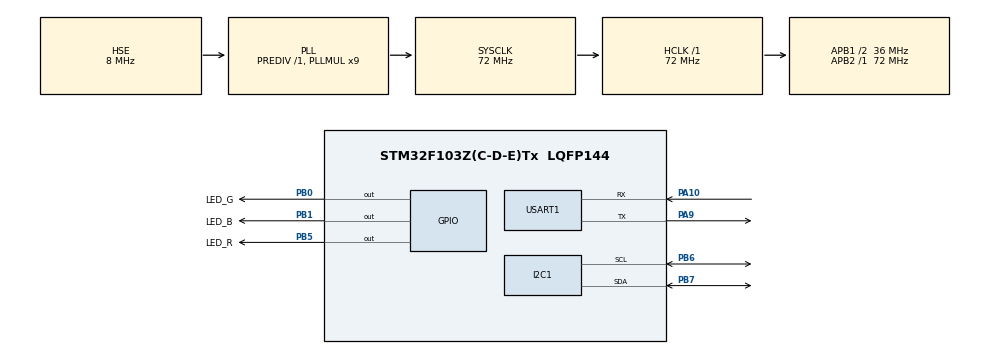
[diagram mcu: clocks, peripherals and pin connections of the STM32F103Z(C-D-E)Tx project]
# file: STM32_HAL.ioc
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I2C1.I2C_Mode=I2C_Fast
Mcu.Family=STM32F1
Mcu.Name=STM32F103Z(C-D-E)Tx
Mcu.Package=LQFP144
NVIC.PriorityGroup=NVIC_PRIORITYGROUP_4
NVIC.USART1_IRQn=true\:0\:0\:false\:false\:true\:true\:true\:true
OSC_IN.Mode=HSE-External-Oscillator
OSC_IN.Signal=RCC_OSC_IN
OSC_OUT.Mode=HSE-External-Oscillator
OSC_OUT.Signal=RCC_OSC_OUT
PA10.Mode=Asynchronous
PA10.Signal=USART1_RX
PA13.Mode=JTAG_5_pins
PA13.Signal=SYS_JTMS-SWDIO
PA14.Mode=JTAG_5_pins
PA14.Signal=SYS_JTCK-SWCLK
PA15.Mode=JTAG_5_pins
PA15.Signal=SYS_JTDI
PA9.Mode=Asynchronous
PA9.Signal=USART1_TX
PB0.GPIO_Label=LED_G
PB0.GPIO_Speed=GPIO_SPEED_FREQ_HIGH
PB0.PinState=GPIO_PIN_SET
PB0.Signal=GPIO_Output
PB1.GPIO_Label=LED_B
PB1.GPIO_Speed=GPIO_SPEED_FREQ_HIGH
PB1.PinState=GPIO_PIN_SET
PB1.Signal=GPIO_Output
PB3.Mode=JTAG_5_pins
PB3.Signal=SYS_JTDO-TRACESWO
PB4.Mode=JTAG_5_pins
PB4.Signal=SYS_NJTRST
PB5.GPIO_Label=LED_R
PB5.GPIO_Speed=GPIO_SPEED_FREQ_HIGH
PB5.PinState=GPIO_PIN_SET
PB5.Signal=GPIO_Output
PB6.Mode=I2C
PB6.Signal=I2C1_SCL
PB7.Mode=I2C
PB7.Signal=I2C1_SDA
PC14-OSC32_IN.Mode=LSE-External-Oscillator
PC14-OSC32_IN.Signal=RCC_OSC32_IN
PC15-OSC32_OUT.Mode=LSE-External-Oscillator
PC15-OSC32_OUT.Signal=RCC_OSC32_OUT
ProjectManager.HeapSize=0x200
ProjectManager.StackSize=0x400
ProjectManager.TargetToolchain=CMake
RCC.AHBFreq_Value=72000000
RCC.APB1CLKDivider=RCC_HCLK_DIV2
RCC.APB1Freq_Value=36000000
RCC.APB1TimFreq_Value=72000000
RCC.APB2Freq_Value=72000000
RCC.APB2TimFreq_Value=72000000
RCC.HCLKFreq_Value=72000000
RCC.PLLMUL=RCC_PLL_MUL9
RCC.PLLSourceVirtual=RCC_PLLSOURCE_HSE
RCC.SYSCLKFreq_VALUE=72000000
RCC.SYSCLKSource=RCC_SYSCLKSOURCE_PLLCLK
RCC.USBFreq_Value=72000000
TIM6.Prescaler=72-1
USART1.VirtualMode=VM_ASYNC
VP_TIM6_VS_ClockSourceINT.Mode=Enable_Timer
board=custom

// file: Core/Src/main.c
/* USER CODE BEGIN Header */
/**
  ******************************************************************************
  * @file           : main.c
  * @brief          : Main program body
  ******************************************************************************
  * @attention
  *
  * Copyright (c) 2024 STMicroelectronics.
  * All rights reserved.
  *
  * This software is licensed under terms that can be found in the LICENSE file
  * in the root directory of this software component.
  * If no LICENSE file comes with this software, it is provided AS-IS.
  *
  ******************************************************************************
  */
/* USER CODE END Header */
#include "main.h"
#include "i2c.h"
#include "tim.h"
#include "usart.h"
#include "gpio.h"

/* USER CODE BEGIN Includes */

#include <stdio.h>
#include "oled.h"
#include "dht22.h"

/* USER CODE END Includes */

/* USER CODE BEGIN PM */

// R: PB5, G: PB0, B: PB1
#define LED_R 0xFFFFFFDF
#define LED_G 0xFFFFFFFE
#define LED_B 0xFFFFFFFD

/* USER CODE END PM */

/* USER CODE BEGIN PV */
extern UART_HandleTypeDef huart1;
uint32_t ledColorArray[] = {LED_R, LED_G, LED_B};

/* USER CODE END PV */

void SystemClock_Config(void);

int main(void)
{

  /* MCU Configuration--------------------------------------------------------*/

  /* Reset of all peripherals, Initializes the Flash interface and the Systick. */
  HAL_Init();

  /* Configure the system clock */
  SystemClock_Config();

  /* Initialize all configured peripherals */
  MX_GPIO_Init();
  MX_I2C1_Init();
  MX_USART1_UART_Init();
  MX_TIM6_Init();
  /* USER CODE BEGIN 2 */

  // start TIM6 for i2c delay
  HAL_TIM_Base_Start(&htim6);

  // 0x78: OLED i2c address
  OLED_ConfigDisplay(&hi2c1, 0x78);

  if (OLED_InitDisplay() < 0) {
    printf("init OLED screen failed!\r\n");
  } else {
    printf("OLED ok!\r\n");
  }
  /* USER CODE END 2 */

  /* Infinite loop */
  /* USER CODE BEGIN WHILE */
  __HAL_RCC_GPIOB_CLK_ENABLE();
  // OLED_Test();
  OLED_NewFrame();
  OLED_ShowString(0, 0, "DHT22 Loading...");
  OLED_ShowFrame();

  double humi = 0, temp = 0;
  char buf[16] = {0};
  DHT22_Init();
  uint32_t measureCount = 0;

  while (1)
  {
    /* USER CODE END WHILE */

    /* USER CODE BEGIN 3 */
    HAL_GPIO_TogglePin(GPIOB, LED_G_Pin);
    OLED_NewFrame();

    if (DHT22_Measure(&temp, &humi) < 0) {
      printf("DHT22_Measure FAILED!\r\n");
      OLED_ShowString(0, 0, "SENSOR FAILED!!");
    } else {
      snprintf(buf, sizeof(buf), "SENSOR OK");
      OLED_ShowString(0, 0, buf);
      snprintf(buf, sizeof(buf), "TEMP: %.2f", temp);
      OLED_ShowString(0, 16, buf);
      snprintf(buf, sizeof(buf), "HUMI: %.2f", humi);
      OLED_ShowString(0, 32, buf);
      snprintf(buf, sizeof(buf), "COUNT: [%ld]", measureCount);
      OLED_ShowString(0, 48, buf);
    }
    measureCount++;
    OLED_ShowFrame();
  }
  /* USER CODE END 3 */
}

void SystemClock_Config(void)
{
  RCC_OscInitTypeDef RCC_OscInitStruct = {0};
  RCC_ClkInitTypeDef RCC_ClkInitStruct = {0};

  /** Initializes the RCC Oscillators according to the specified parameters
  * in the RCC_OscInitTypeDef structure.
  */
  RCC_OscInitStruct.OscillatorType = RCC_OSCILLATORTYPE_HSE;
  RCC_OscInitStruct.HSEState = RCC_HSE_ON;
  RCC_OscInitStruct.HSEPredivValue = RCC_HSE_PREDIV_DIV1;
  RCC_OscInitStruct.HSIState = RCC_HSI_ON;
  RCC_OscInitStruct.PLL.PLLState = RCC_PLL_ON;
  RCC_OscInitStruct.PLL.PLLSource = RCC_PLLSOURCE_HSE;
  RCC_OscInitStruct.PLL.PLLMUL = RCC_PLL_MUL9;
  if (HAL_RCC_OscConfig(&RCC_OscInitStruct) != HAL_OK)
  {
    Error_Handler();
  }

  /** Initializes the CPU, AHB and APB buses clocks
  */
  RCC_ClkInitStruct.ClockType = RCC_CLOCKTYPE_HCLK|RCC_CLOCKTYPE_SYSCLK
                              |RCC_CLOCKTYPE_PCLK1|RCC_CLOCKTYPE_PCLK2;
  RCC_ClkInitStruct.SYSCLKSource = RCC_SYSCLKSOURCE_PLLCLK;
  RCC_ClkInitStruct.AHBCLKDivider = RCC_SYSCLK_DIV1;
  RCC_ClkInitStruct.APB1CLKDivider = RCC_HCLK_DIV2;
  RCC_ClkInitStruct.APB2CLKDivider = RCC_HCLK_DIV1;

  if (HAL_RCC_ClockConfig(&RCC_ClkInitStruct, FLASH_LATENCY_2) != HAL_OK)
  {
    Error_Handler();
  }
}

/* USER CODE BEGIN 4 */
int __io_putchar(int ch)
{
    HAL_UART_Transmit(&huart1, (uint8_t *)&ch, 1, HAL_MAX_DELAY);
    return 0;
}
/* USER CODE END 4 */

void Error_Handler(void)
{
  __disable_irq();
  while (1)
  {
  }
}
